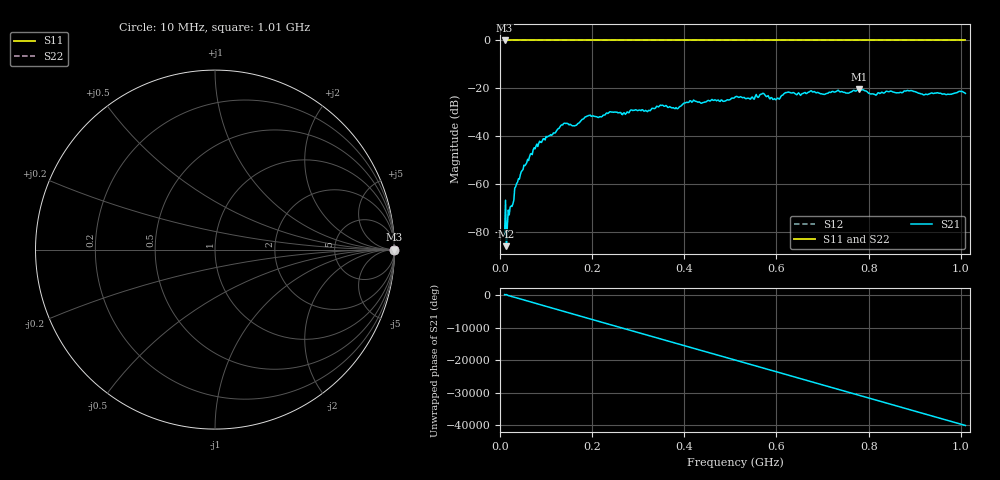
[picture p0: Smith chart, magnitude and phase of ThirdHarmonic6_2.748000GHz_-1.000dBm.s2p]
! 8/17/2025 6:51:40 AM
! C:\ANRITSUVNA\TEMP\TEMP.S2P
! CHANNEL.1
! TR.MEASUREMENT
! RAW.DATA
! RF.CORRECTION.OFF
! AVERAGING.OFF
! IF.BANDWIDTH: 5KHZ
! SWEEPTYPE:  FREQ.SWEEP(Linear)
! Reference Plane Port Info
! PORT:  PORT1  PORT2
! DISTANCE:  0  m  0  m
! TIME:  0  s  0  s
! PHASE.OFFSET:  0  deg.  0  deg.
! LOSS:  0  dB  0  dB
! REF.LOSS:  0  dB  0  dB
! REF.FREQ:  0  Hz  0  Hz
! Power Info
! POWER:  -20  dBm  -20  dBm
! EFF.POWER:  -20  dBm  -20  dBm
! SOURCE.ATTEN:  0  dB  0  dB
! TEST.ATTEN:  0  dB  0  dB
# GHZ S RI R 50.0
! FREQ.GHZ  S11RE  S11IM  S21RE  S21IM  S12RE  S12IM  S22RE  S22IM
!; PortSelection: Port_12
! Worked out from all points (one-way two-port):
!   501 points, 10 MHz to 1.01 GHz, reference 50 ohm
!   highest |S21| = -20.36 dB at 780 MHz (marker M1); lowest = -86.1 dB at 14 MHz (marker M2)
!   lowest |S11| = 0.0 dB at 10 MHz (marker M3)
!   |S11| at or under -10 dB: nowhere
!   |S22| runs from 0.0 to 0.0 dB; largest |S21 - S12| = 1.1
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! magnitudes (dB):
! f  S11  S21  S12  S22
! 10 MHz  0.0  -81.2  0.0  0.0
! 14 MHz  0.0  -86.1  0.0  0.0
! 18 MHz  0.0  -71.0  0.0  0.0
! 36 MHz  0.0  -59.9  0.0  0.0
! 76 MHz  0.0  -45.4  0.0  0.0
! 136 MHz  0.0  -35.4  0.0  0.0
! 162 MHz  0.0  -35.7  0.0  0.0
! 178 MHz  0.0  -33.1  0.0  0.0
! 344 MHz  0.0  -27.8  0.0  0.0
! 382 MHz  0.0  -28.1  0.0  0.0
! 416 MHz  0.0  -25.8  0.0  0.0
! 510 MHz  0.0  -23.7  0.0  0.0
! 548 MHz  0.0  -23.7  0.0  0.0
! 570 MHz  0.0  -22.2  0.0  0.0
! 596 MHz  0.0  -24.4  0.0  0.0
! 622 MHz  0.0  -21.8  0.0  0.0
! 678 MHz  0.0  -21.6  0.0  0.0
! 702 MHz  0.0  -22.5  0.0  0.0
! 780 MHz  0.0  -20.4  0.0  0.0
! 814 MHz  0.0  -22.7  0.0  0.0
! 844 MHz  0.0  -21.5  0.0  0.0
! 1.01 GHz  0.0  -22.2  0.0  0.0
